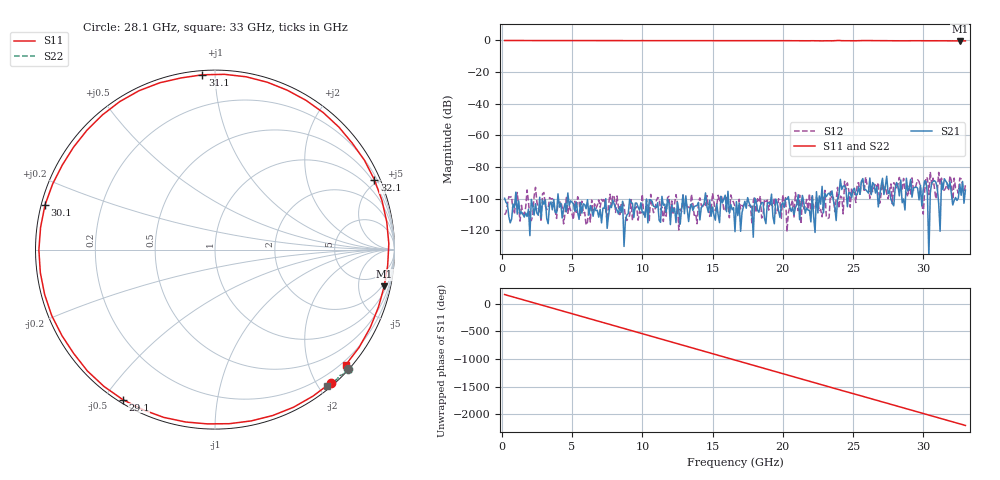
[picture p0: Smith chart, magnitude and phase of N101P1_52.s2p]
# GHZ S RI R 50
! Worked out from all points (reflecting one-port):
!   329 points, 200 MHz to 33 GHz, reference 50 ohm
!   lowest |S11| = -0.3 dB at 32.6 GHz (marker M1), VSWR 55.45, Z = 77.4 - j454 ohm
!   phase of S11 starts at 165 deg and turns -2367 deg over the sweep
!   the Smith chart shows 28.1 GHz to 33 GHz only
!   S11 on the Smith chart (normalised r, x): 28.1 GHz: 0.05, -2.19; 29.1 GHz: 0.01, -0.56; 30.1 GHz: 0.01, +0.13; 31.1 GHz: 0.02, +0.93; 32.1 GHz: 0.36, +4.75; 33 GHz: 0.12, -2.63
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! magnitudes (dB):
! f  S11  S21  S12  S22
! 200 MHz  0.0  -99.7  -110.2  0.0
! 5.7 GHz  -0.1  -109.1  -101.5  0.0
! 11.2 GHz  -0.1  -113.6  -99.8  0.0
! 16.6 GHz  -0.1  -120.9  -104.9  0.0
! 22.1 GHz  -0.2  -98.2  -97.5  0.0
! 22.6 GHz  -0.3  -98.3  -107.9  -0.1
! 23 GHz  -0.2  -96.6  -94.7  0.0
! 23.4 GHz  -0.3  -98.1  -95.5  -0.1
! 24 GHz  0.0  -97.4  -106.0  0.1
! 24.3 GHz  -0.2  -92.0  -109.6  0.0
! 25 GHz  -0.2  -94.4  -95.4  0.0
! 25.6 GHz  -0.1  -88.8  -89.7  0.0
! 27.6 GHz  -0.1  -95.1  -94.8  0.0
! 28.1 GHz  -0.1  -89.8  -93.5  0.0
! 28.7 GHz  -0.2  -107.1  -95.1  -0.1
! 29.1 GHz  -0.2  -87.8  -97.0  0.0
! 30.1 GHz  -0.2  -88.7  -95.2  -0.1
! 31.1 GHz  -0.2  -103.0  -83.4  -0.1
! 31.7 GHz  -0.2  -90.2  -90.4  -0.2
! 32.1 GHz  -0.3  -104.0  -103.3  -0.1
! 32.6 GHz  -0.3  -90.7  -86.9  -0.1
! 33 GHz  -0.3  -94.6  -91.3  -0.1
